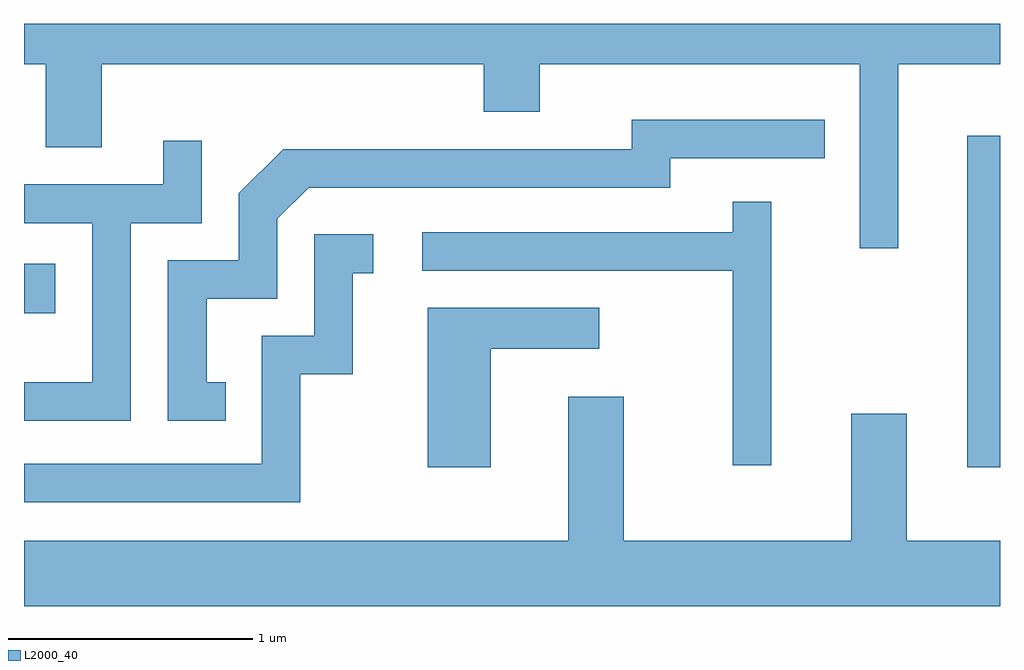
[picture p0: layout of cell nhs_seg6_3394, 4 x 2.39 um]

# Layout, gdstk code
import gdstk
lib = gdstk.Library(unit=1e-6, precision=1e-09)
def R(c, l, rs):  # rectangles x0, y0, x1, y1
    for r in rs: c.add(gdstk.rectangle(r[:2], r[2:], *l))
def P(c, l, *ps):  # polygons
    for p in ps: c.add(gdstk.Polygon(p, *l))
L2000_40 = (2000, 40)

nhs_seg6_3394 = lib.new_cell('nhs_seg6_3394')
R(nhs_seg6_3394, L2000_40, [(291.476,1588.346,291.611,1589.704), (287.611,1588.976,287.739,1589.179)])
P(nhs_seg6_3394, L2000_40, [(291.194,1589.996),(291.611,1589.996),(291.611,1590.162),(287.611,1590.162),(287.611,1589.996),(287.701,1589.996),(287.701,1589.656),(287.929,1589.656),(287.929,1589.996),(289.496,1589.996),(289.496,1589.801),(289.724,1589.801),(289.724,1589.996),(291.036,1589.996),(291.036,1589.243),(291.194,1589.243)],
  [(288.438,1588.694),(288.359,1588.694),(288.359,1589.036),(288.649,1589.036),(288.649,1589.364),(288.777,1589.491),(290.259,1589.491),(290.259,1589.611),(290.893,1589.611),(290.893,1589.769),(290.101,1589.769),(290.101,1589.649),(288.674,1589.649),(288.491,1589.467),(288.491,1589.194),(288.201,1589.194),(288.201,1588.536),(288.438,1588.536)],
  [(288.049,1589.346),(288.339,1589.346),(288.339,1589.683),(288.181,1589.683),(288.181,1589.504),(287.611,1589.504),(287.611,1589.346),(287.891,1589.346),(287.891,1588.694),(287.611,1588.694),(287.611,1588.536),(288.049,1588.536)],
  [(290.674,1589.433),(290.516,1589.433),(290.516,1589.309),(289.243,1589.309),(289.243,1589.151),(290.516,1589.151),(290.516,1588.353),(290.674,1588.353)],
  [(288.744,1588.726),(288.959,1588.726),(288.959,1589.141),(289.043,1589.141),(289.043,1589.299),(288.801,1589.299),(288.801,1588.884),(288.586,1588.884),(288.586,1588.359),(287.611,1588.359),(287.611,1588.201),(288.744,1588.201)],
  [(289.524,1588.831),(289.968,1588.831),(289.968,1588.999),(289.266,1588.999),(289.266,1588.346),(289.524,1588.346)],
  [(291.611,1588.044),(291.229,1588.044),(291.229,1588.564),(291.001,1588.564),(291.001,1588.044),(290.069,1588.044),(290.069,1588.634),(289.841,1588.634),(289.841,1588.044),(287.611,1588.044),(287.611,1587.776),(291.611,1587.776)])

lib.write_gds('nhs_seg6_3394.gds')
